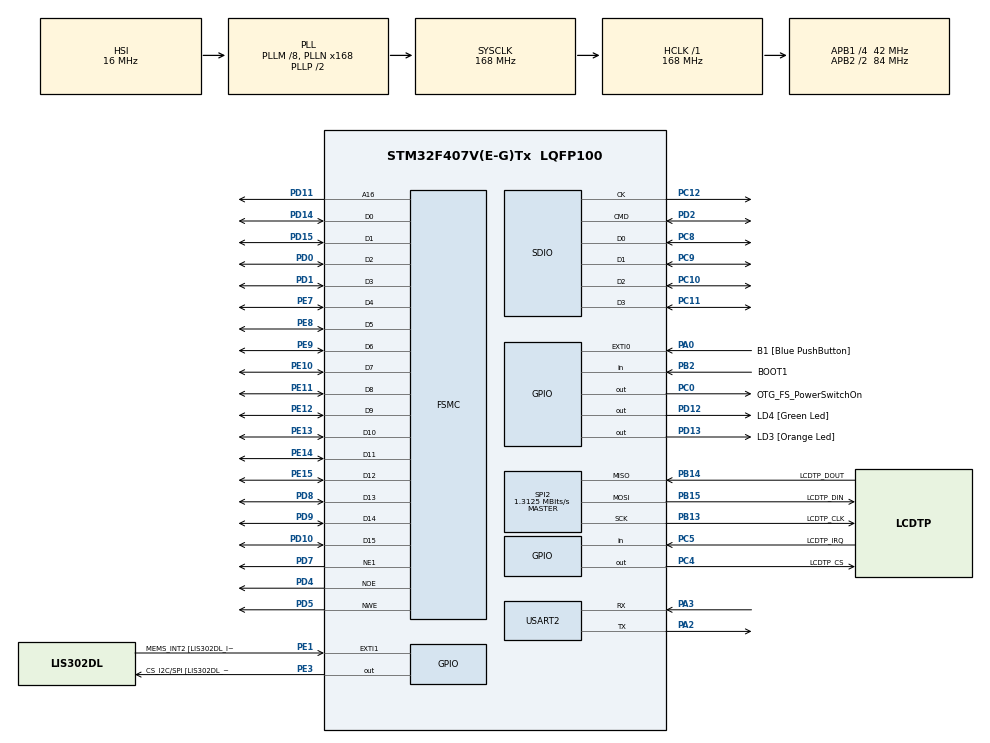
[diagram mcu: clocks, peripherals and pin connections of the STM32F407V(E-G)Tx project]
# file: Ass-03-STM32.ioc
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Dma.Request0=SDIO_RX
Dma.Request1=SDIO_TX
Dma.SDIO_RX.0.Direction=DMA_PERIPH_TO_MEMORY
Dma.SDIO_RX.0.FIFOMode=DMA_FIFOMODE_ENABLE
Dma.SDIO_RX.0.FIFOThreshold=DMA_FIFO_THRESHOLD_FULL
Dma.SDIO_RX.0.Instance=DMA2_Stream3
Dma.SDIO_RX.0.MemBurst=DMA_MBURST_INC4
Dma.SDIO_RX.0.MemDataAlignment=DMA_MDATAALIGN_WORD
Dma.SDIO_RX.0.MemInc=DMA_MINC_ENABLE
Dma.SDIO_RX.0.Mode=DMA_PFCTRL
Dma.SDIO_RX.0.PeriphBurst=DMA_PBURST_INC4
Dma.SDIO_RX.0.PeriphDataAlignment=DMA_PDATAALIGN_WORD
Dma.SDIO_RX.0.PeriphInc=DMA_PINC_DISABLE
Dma.SDIO_RX.0.Priority=DMA_PRIORITY_LOW
Dma.SDIO_TX.1.Direction=DMA_MEMORY_TO_PERIPH
Dma.SDIO_TX.1.FIFOMode=DMA_FIFOMODE_ENABLE
Dma.SDIO_TX.1.FIFOThreshold=DMA_FIFO_THRESHOLD_FULL
Dma.SDIO_TX.1.Instance=DMA2_Stream6
Dma.SDIO_TX.1.MemBurst=DMA_MBURST_INC4
Dma.SDIO_TX.1.MemDataAlignment=DMA_MDATAALIGN_WORD
Dma.SDIO_TX.1.MemInc=DMA_MINC_ENABLE
Dma.SDIO_TX.1.Mode=DMA_PFCTRL
Dma.SDIO_TX.1.PeriphBurst=DMA_PBURST_INC4
Dma.SDIO_TX.1.PeriphDataAlignment=DMA_PDATAALIGN_WORD
Dma.SDIO_TX.1.PeriphInc=DMA_PINC_DISABLE
Dma.SDIO_TX.1.Priority=DMA_PRIORITY_LOW
FATFS._FS_LOCK=5
FREERTOS.BinarySemaphores01=myBinarySem01,Dynamic,NULL;myBinarySem02,Dynamic,NULL
FREERTOS.CountingSemaphores01=myCountingSem01,2,Dynamic,NULL
FREERTOS.Mutexes01=myMutex01,Dynamic,NULL;myMutex02,Dynamic,NULL
FREERTOS.Queues01=myQueue01,16,uint16_t,0,Dynamic,NULL,NULL
FREERTOS.Tasks01=defaultTask,0,2048,StartDefaultTask,Default,NULL,Dynamic,NULL,NULL;myTask02,-3,2048,StartTask02,Default,NULL,Dynamic,NULL,NULL;myTask03,-3,2048,StartTask03,Default,NULL,Dynamic,NULL,NULL
FREERTOS.Timers01=myTimer01,Callback01,osTimerPeriodic,Default,NULL,Dynamic,NULL
FREERTOS.configTOTAL_HEAP_SIZE=32000
FREERTOS.configUSE_COUNTING_SEMAPHORES=1
FREERTOS.configUSE_TIMERS=1
Mcu.Family=STM32F4
Mcu.Name=STM32F407V(E-G)Tx
Mcu.Package=LQFP100
NVIC.DMA2_Stream3_IRQn=true\:5\:0\:false\:false\:true\:true\:false
NVIC.DMA2_Stream6_IRQn=true\:5\:0\:false\:false\:true\:true\:false
NVIC.PriorityGroup=NVIC_PRIORITYGROUP_4
NVIC.SPI2_IRQn=true\:5\:0\:false\:false\:true\:true\:true
NVIC.TIM1_UP_TIM10_IRQn=true\:0\:0\:false\:false\:true\:false\:false
NVIC.TimeBase=TIM1_UP_TIM10_IRQn
NVIC.TimeBaseIP=TIM1
NVIC.USART2_IRQn=true\:5\:0\:false\:false\:true\:true\:true
PA0-WKUP.GPIO_Label=B1 [Blue PushButton]
PA0-WKUP.GPIO_ModeDefaultEXTI=GPIO_MODE_EVT_RISING
PA0-WKUP.GPIO_PuPd=GPIO_NOPULL
PA0-WKUP.Signal=GPXTI0
PA10.GPIO_Label=OTG_FS_ID
PA10.GPIO_Mode=GPIO_MODE_AF_PP
PA10.GPIO_PuPd=GPIO_NOPULL
PA10.GPIO_Speed=GPIO_SPEED_FREQ_LOW
PA10.Signal=USB_OTG_FS_ID
PA11.GPIO_Label=OTG_FS_DM
PA11.GPIO_Mode=GPIO_MODE_AF_PP
PA11.GPIO_PuPd=GPIO_NOPULL
PA11.GPIO_Speed=GPIO_SPEED_FREQ_LOW
PA11.Signal=USB_OTG_FS_DM
PA12.GPIO_Label=OTG_FS_DP
PA12.GPIO_Mode=GPIO_MODE_AF_PP
PA12.GPIO_PuPd=GPIO_NOPULL
PA12.GPIO_Speed=GPIO_SPEED_FREQ_LOW
PA12.Signal=USB_OTG_FS_DP
PA13.GPIO_Label=SWDIO
PA13.Signal=SYS_JTMS-SWDIO
PA14.GPIO_Label=SWCLK
PA14.Signal=SYS_JTCK-SWCLK
PA2.Mode=Asynchronous
PA2.Signal=USART2_TX
PA3.Mode=Asynchronous
PA3.Signal=USART2_RX
PA4.GPIO_Label=I2S3_WS [CS43L22_LRCK]
PA4.GPIO_Mode=GPIO_MODE_AF_PP
PA4.GPIO_PuPd=GPIO_NOPULL
PA4.GPIO_Speed=GPIO_SPEED_FREQ_LOW
PA4.Signal=I2S3_WS
PA5.GPIO_Label=SPI1_SCK [LIS302DL_SCL/SPC]
PA5.GPIO_Mode=GPIO_MODE_AF_PP
PA5.GPIO_PuPd=GPIO_NOPULL
PA5.GPIO_Speed=GPIO_SPEED_FREQ_LOW
PA5.Signal=SPI1_SCK
PA6.GPIO_Label=SPI1_MISO [LIS302DL_SDO]
PA6.GPIO_Mode=GPIO_MODE_AF_PP
PA6.GPIO_PuPd=GPIO_NOPULL
PA6.GPIO_Speed=GPIO_SPEED_FREQ_LOW
PA6.Signal=SPI1_MISO
PA7.GPIO_Label=SPI1_MOSI [LIS302DL_SDA/SDI/SDO]
PA7.GPIO_Mode=GPIO_MODE_AF_PP
PA7.GPIO_PuPd=GPIO_NOPULL
PA7.GPIO_Speed=GPIO_SPEED_FREQ_LOW
PA7.Signal=SPI1_MOSI
PA9.GPIO_Label=VBUS_FS
PA9.GPIO_Mode=GPIO_MODE_INPUT
PA9.GPIO_PuPd=GPIO_NOPULL
PA9.Signal=USB_OTG_FS_VBUS
PB10.GPIO_Label=CLK_IN [MP45DT02_CLK]
PB10.GPIO_Mode=GPIO_MODE_AF_PP
PB10.GPIO_PuPd=GPIO_NOPULL
PB10.GPIO_Speed=GPIO_SPEED_FREQ_LOW
PB10.Signal=I2S2_CK
PB13.GPIO_Label=LCDTP_CLK
PB13.Mode=Full_Duplex_Master
PB13.Signal=SPI2_SCK
PB14.GPIO_Label=LCDTP_DOUT
PB14.Mode=Full_Duplex_Master
PB14.Signal=SPI2_MISO
PB15.GPIO_Label=LCDTP_DIN
PB15.Mode=Full_Duplex_Master
PB15.Signal=SPI2_MOSI
PB2.GPIO_Label=BOOT1
PB2.GPIO_Mode=GPIO_MODE_INPUT
PB2.GPIO_PuPd=GPIO_NOPULL
PB2.Signal=GPIO_Input
PB3.GPIO_Label=SWO
PB3.Signal=SYS_JTDO-SWO
PB6.GPIO_Label=Audio_SCL [CS43L22_SCL]
PB6.GPIO_Mode=GPIO_MODE_AF_OD
PB6.GPIO_PuPd=GPIO_NOPULL
PB6.GPIO_Speed=GPIO_SPEED_FREQ_LOW
PB6.Signal=I2C1_SCL
PB9.GPIO_Label=Audio_SDA [CS43L22_SDA]
PB9.GPIO_Mode=GPIO_MODE_AF_OD
PB9.GPIO_PuPd=GPIO_NOPULL
PB9.GPIO_Speed=GPIO_SPEED_FREQ_LOW
PB9.Signal=I2C1_SDA
PC0.GPIO_Label=OTG_FS_PowerSwitchOn
PC0.GPIO_PuPd=GPIO_NOPULL
PC0.GPIO_Speed=GPIO_SPEED_FREQ_LOW
PC0.PinState=GPIO_PIN_SET
PC0.Signal=GPIO_Output
PC10.Mode=SD_4_bits_Wide_bus
PC10.Signal=SDIO_D2
PC11.Mode=SD_4_bits_Wide_bus
PC11.Signal=SDIO_D3
PC12.Mode=SD_4_bits_Wide_bus
PC12.Signal=SDIO_CK
PC14-OSC32_IN.GPIO_Label=PC14-OSC32_IN
PC14-OSC32_IN.Signal=RCC_OSC32_IN
PC15-OSC32_OUT.GPIO_Label=PC15-OSC32_OUT
PC15-OSC32_OUT.Signal=RCC_OSC32_OUT
PC3.GPIO_Label=PDM_OUT [MP45DT02_DOUT]
PC3.GPIO_Mode=GPIO_MODE_AF_PP
PC3.GPIO_PuPd=GPIO_NOPULL
PC3.GPIO_Speed=GPIO_SPEED_FREQ_LOW
PC3.Signal=I2S2_SD
PC4.GPIO_Label=LCDTP_CS
PC4.Signal=GPIO_Output
PC5.GPIO_Label=LCDTP_IRQ
PC5.Signal=GPIO_Input
PC7.GPIO_Label=I2S3_MCK [CS43L22_MCLK]
PC7.GPIO_Mode=GPIO_MODE_AF_PP
PC7.GPIO_PuPd=GPIO_NOPULL
PC7.GPIO_Speed=GPIO_SPEED_FREQ_LOW
PC7.Signal=I2S3_MCK
PC8.Mode=SD_4_bits_Wide_bus
PC8.Signal=SDIO_D0
PC9.Mode=SD_4_bits_Wide_bus
PC9.Signal=SDIO_D1
PD0.Mode=16b-d1
PD0.Signal=FSMC_D2
PD1.Mode=16b-d1
PD1.Signal=FSMC_D3
PD10.Mode=16b-d1
PD10.Signal=FSMC_D15
PD11.Mode=A16_1
PD11.Signal=FSMC_A16
PD12.GPIO_Label=LD4 [Green Led]
PD12.GPIO_PuPd=GPIO_NOPULL
PD12.GPIO_Speed=GPIO_SPEED_FREQ_LOW
PD12.Signal=GPIO_Output
PD13.GPIO_Label=LD3 [Orange Led]
PD13.GPIO_PuPd=GPIO_NOPULL
PD13.GPIO_Speed=GPIO_SPEED_FREQ_LOW
PD13.Signal=GPIO_Output
PD14.Mode=16b-d1
PD14.Signal=FSMC_D0
PD15.Mode=16b-d1
PD15.Signal=FSMC_D1
PD2.Mode=SD_4_bits_Wide_bus
PD2.Signal=SDIO_CMD
PD4.Mode=Lcd1
PD4.Signal=FSMC_NOE
PD5.Mode=Lcd1
PD5.Signal=FSMC_NWE
PD7.Mode=NorPsramChipSelect1_1
PD7.Signal=FSMC_NE1
PD8.Mode=16b-d1
PD8.Signal=FSMC_D13
PD9.Mode=16b-d1
PD9.Signal=FSMC_D14
PE1.GPIO_Label=MEMS_INT2 [LIS302DL_INT2]
PE1.GPIO_ModeDefaultEXTI=GPIO_MODE_EVT_RISING
PE1.GPIO_PuPd=GPIO_NOPULL
PE1.Signal=GPXTI1
PE10.Mode=16b-d1
PE10.Signal=FSMC_D7
PE11.Mode=16b-d1
PE11.Signal=FSMC_D8
PE12.Mode=16b-d1
PE12.Signal=FSMC_D9
PE13.Mode=16b-d1
PE13.Signal=FSMC_D10
PE14.Mode=16b-d1
PE14.Signal=FSMC_D11
PE15.Mode=16b-d1
PE15.Signal=FSMC_D12
PE3.GPIO_Label=CS_I2C/SPI [LIS302DL_CS_I2C/SPI]
PE3.GPIO_PuPd=GPIO_NOPULL
PE3.GPIO_Speed=GPIO_SPEED_FREQ_LOW
PE3.Signal=GPIO_Output
PE7.Mode=16b-d1
PE7.Signal=FSMC_D4
PE8.Mode=16b-d1
PE8.Signal=FSMC_D5
PE9.Mode=16b-d1
PE9.Signal=FSMC_D6
PH0-OSC_IN.GPIO_Label=PH0-OSC_IN
PH0-OSC_IN.Mode=HSE-External-Oscillator
PH0-OSC_IN.Signal=RCC_OSC_IN
PH1-OSC_OUT.GPIO_Label=PH1-OSC_OUT
PH1-OSC_OUT.Mode=HSE-External-Oscillator
PH1-OSC_OUT.Signal=RCC_OSC_OUT
ProjectManager.HeapSize=0x10000
ProjectManager.StackSize=0x2000
ProjectManager.TargetToolchain=SW4STM32
RCC.48MHZClocksFreq_Value=48000000
RCC.AHBFreq_Value=168000000
RCC.APB1CLKDivider=RCC_HCLK_DIV4
RCC.APB1Freq_Value=42000000
RCC.APB1TimFreq_Value=84000000
RCC.APB2CLKDivider=RCC_HCLK_DIV2
RCC.APB2Freq_Value=84000000
RCC.APB2TimFreq_Value=168000000
RCC.CortexFreq_Value=168000000
RCC.HCLKFreq_Value=168000000
RCC.HSE_VALUE=8000000
RCC.HSI_VALUE=16000000
RCC.LSE_VALUE=32768
RCC.PLLM=8
RCC.PLLN=168
RCC.PLLQ=7
RCC.SYSCLKFreq_VALUE=168000000
RCC.SYSCLKSource=RCC_SYSCLKSOURCE_PLLCLK
RCC.VCOOutputFreq_Value=336000000
SPI2.BaudRatePrescaler=SPI_BAUDRATEPRESCALER_32
SPI2.CalculateBaudRate=1.3125 MBits/s
SPI2.Direction=SPI_DIRECTION_2LINES
SPI2.Mode=SPI_MODE_MASTER
SPI2.VirtualType=VM_MASTER
USART2.VirtualMode=VM_ASYNC
VP_FATFS_VS_SDIO.Mode=SDIO
VP_FREERTOS_VS_ENABLE.Mode=Enabled
VP_SYS_VS_tim1.Mode=TIM1
board=STM32F4DISCOVERY

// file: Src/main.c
/**
  ******************************************************************************
  * @file           : main.c
  * @brief          : Main program body
  ******************************************************************************
  * This notice applies to any and all portions of this file
  * that are not between comment pairs USER CODE BEGIN and
  * USER CODE END. Other portions of this file, whether
  * inserted by the user or by software development tools
  * are owned by their respective copyright owners.
  *
  * Copyright (c) 2018 STMicroelectronics International N.V.
  * All rights reserved.
  *
  * Redistribution and use in source and binary forms, with or without
  * modification, are permitted, provided that the following conditions are met:
  *
  * 1. Redistribution of source code must retain the above copyright notice,
  *    this list of conditions and the following disclaimer.
  * 2. Redistributions in binary form must reproduce the above copyright notice,
  *    this list of conditions and the following disclaimer in the documentation
  *    and/or other materials provided with the distribution.
  * 3. Neither the name of STMicroelectronics nor the names of other
  *    contributors to this software may be used to endorse or promote products
  *    derived from this software without specific written permission.
  * 4. This software, including modifications and/or derivative works of this
  *    software, must execute solely and exclusively on microcontroller or
  *    microprocessor devices manufactured by or for STMicroelectronics.
  * 5. Redistribution and use of this software other than as permitted under
  *    this license is void and will automatically terminate your rights under
  *    this license.
  *
  * THIS SOFTWARE IS PROVIDED BY STMICROELECTRONICS AND CONTRIBUTORS "AS IS"
  * AND ANY EXPRESS, IMPLIED OR STATUTORY WARRANTIES, INCLUDING, BUT NOT
  * LIMITED TO, THE IMPLIED WARRANTIES OF MERCHANTABILITY, FITNESS FOR A
  * PARTICULAR PURPOSE AND NON-INFRINGEMENT OF THIRD PARTY INTELLECTUAL PROPERTY
  * RIGHTS ARE DISCLAIMED TO THE FULLEST EXTENT PERMITTED BY LAW. IN NO EVENT
  * SHALL STMICROELECTRONICS OR CONTRIBUTORS BE LIABLE FOR ANY DIRECT, INDIRECT,
  * INCIDENTAL, SPECIAL, EXEMPLARY, OR CONSEQUENTIAL DAMAGES (INCLUDING, BUT NOT
  * LIMITED TO, PROCUREMENT OF SUBSTITUTE GOODS OR SERVICES; LOSS OF USE, DATA,
  * OR PROFITS; OR BUSINESS INTERRUPTION) HOWEVER CAUSED AND ON ANY THEORY OF
  * LIABILITY, WHETHER IN CONTRACT, STRICT LIABILITY, OR TORT (INCLUDING
  * NEGLIGENCE OR OTHERWISE) ARISING IN ANY WAY OUT OF THE USE OF THIS SOFTWARE,
  * EVEN IF ADVISED OF THE POSSIBILITY OF SUCH DAMAGE.
  *
  ******************************************************************************
  */
#include "main.h"
#include "stm32f4xx_hal.h"
#include "cmsis_os.h"
#include "dma.h"
#include "fatfs.h"
#include "sdio.h"
#include "spi.h"
#include "usart.h"
#include "gpio.h"
#include "fsmc.h"

/* USER CODE BEGIN PV */
/* Private variables ---------------------------------------------------------*/

/* USER CODE END PV */

void SystemClock_Config(void);
void MX_FREERTOS_Init(void);

/* USER CODE BEGIN PFP */
/* Private function prototypes -----------------------------------------------*/

/* USER CODE END PFP */

int main(void)
{

  /* MCU Configuration----------------------------------------------------------*/

  /* Reset of all peripherals, Initializes the Flash interface and the Systick. */
  HAL_Init();

  /* Configure the system clock */
  SystemClock_Config();

  /* Initialize all configured peripherals */
  MX_GPIO_Init();
  MX_DMA_Init();
  MX_FSMC_Init();
  MX_SDIO_SD_Init();
  MX_USART2_UART_Init();
  MX_SPI2_Init();
  /* USER CODE BEGIN 2 */

  // STEPIEN: Initialize and turn on LCD and calibrate the touch panel
  BSP_LCD_Init();
  BSP_LCD_DisplayOn();
  BSP_TP_Init();

  /* USER CODE END 2 */

  /* Call init function for freertos objects (in freertos.c) */
  MX_FREERTOS_Init();

  /* Start scheduler */
  osKernelStart();

  /* We should never get here as control is now taken by the scheduler */

  /* Infinite loop */
  while (1)
  {

  }

}

void SystemClock_Config(void)
{

  RCC_OscInitTypeDef RCC_OscInitStruct;
  RCC_ClkInitTypeDef RCC_ClkInitStruct;

    /**Configure the main internal regulator output voltage
    */
  __HAL_RCC_PWR_CLK_ENABLE();

  __HAL_PWR_VOLTAGESCALING_CONFIG(PWR_REGULATOR_VOLTAGE_SCALE1);

    /**Initializes the CPU, AHB and APB busses clocks
    */
  RCC_OscInitStruct.OscillatorType = RCC_OSCILLATORTYPE_HSI;
  RCC_OscInitStruct.HSIState = RCC_HSI_ON;
  RCC_OscInitStruct.HSICalibrationValue = 16;
  RCC_OscInitStruct.PLL.PLLState = RCC_PLL_ON;
  RCC_OscInitStruct.PLL.PLLSource = RCC_PLLSOURCE_HSI;
  RCC_OscInitStruct.PLL.PLLM = 8;
  RCC_OscInitStruct.PLL.PLLN = 168;
  RCC_OscInitStruct.PLL.PLLP = RCC_PLLP_DIV2;
  RCC_OscInitStruct.PLL.PLLQ = 7;
  if (HAL_RCC_OscConfig(&RCC_OscInitStruct) != HAL_OK)
  {
    _Error_Handler(__FILE__, __LINE__);
  }

    /**Initializes the CPU, AHB and APB busses clocks
    */
  RCC_ClkInitStruct.ClockType = RCC_CLOCKTYPE_HCLK|RCC_CLOCKTYPE_SYSCLK
                              |RCC_CLOCKTYPE_PCLK1|RCC_CLOCKTYPE_PCLK2;
  RCC_ClkInitStruct.SYSCLKSource = RCC_SYSCLKSOURCE_PLLCLK;
  RCC_ClkInitStruct.AHBCLKDivider = RCC_SYSCLK_DIV1;
  RCC_ClkInitStruct.APB1CLKDivider = RCC_HCLK_DIV4;
  RCC_ClkInitStruct.APB2CLKDivider = RCC_HCLK_DIV2;

  if (HAL_RCC_ClockConfig(&RCC_ClkInitStruct, FLASH_LATENCY_5) != HAL_OK)
  {
    _Error_Handler(__FILE__, __LINE__);
  }

    /**Configure the Systick interrupt time
    */
  HAL_SYSTICK_Config(HAL_RCC_GetHCLKFreq()/1000);

    /**Configure the Systick
    */
  HAL_SYSTICK_CLKSourceConfig(SYSTICK_CLKSOURCE_HCLK);

  /* SysTick_IRQn interrupt configuration */
  HAL_NVIC_SetPriority(SysTick_IRQn, 15, 0);
}

void HAL_TIM_PeriodElapsedCallback(TIM_HandleTypeDef *htim)
{
  if (htim->Instance == TIM1) {
    HAL_IncTick();
  }
}

void _Error_Handler(char *file, int line)
{
  while(1)
  {
  }
}

/************************ (C) COPYRIGHT STMicroelectronics *****END OF FILE****/

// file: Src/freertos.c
/**
  ******************************************************************************
  * File Name          : freertos.c
  * Description        : Code for freertos applications
  ******************************************************************************
  * This notice applies to any and all portions of this file
  * that are not between comment pairs USER CODE BEGIN and
  * USER CODE END. Other portions of this file, whether
  * inserted by the user or by software development tools
  * are owned by their respective copyright owners.
  *
  * Copyright (c) 2018 STMicroelectronics International N.V.
  * All rights reserved.
  *
  * Redistribution and use in source and binary forms, with or without
  * modification, are permitted, provided that the following conditions are met:
  *
  * 1. Redistribution of source code must retain the above copyright notice,
  *    this list of conditions and the following disclaimer.
  * 2. Redistributions in binary form must reproduce the above copyright notice,
  *    this list of conditions and the following disclaimer in the documentation
  *    and/or other materials provided with the distribution.
  * 3. Neither the name of STMicroelectronics nor the names of other
  *    contributors to this software may be used to endorse or promote products
  *    derived from this software without specific written permission.
  * 4. This software, including modifications and/or derivative works of this
  *    software, must execute solely and exclusively on microcontroller or
  *    microprocessor devices manufactured by or for STMicroelectronics.
  * 5. Redistribution and use of this software other than as permitted under
  *    this license is void and will automatically terminate your rights under
  *    this license.
  *
  * THIS SOFTWARE IS PROVIDED BY STMICROELECTRONICS AND CONTRIBUTORS "AS IS"
  * AND ANY EXPRESS, IMPLIED OR STATUTORY WARRANTIES, INCLUDING, BUT NOT
  * LIMITED TO, THE IMPLIED WARRANTIES OF MERCHANTABILITY, FITNESS FOR A
  * PARTICULAR PURPOSE AND NON-INFRINGEMENT OF THIRD PARTY INTELLECTUAL PROPERTY
  * RIGHTS ARE DISCLAIMED TO THE FULLEST EXTENT PERMITTED BY LAW. IN NO EVENT
  * SHALL STMICROELECTRONICS OR CONTRIBUTORS BE LIABLE FOR ANY DIRECT, INDIRECT,
  * INCIDENTAL, SPECIAL, EXEMPLARY, OR CONSEQUENTIAL DAMAGES (INCLUDING, BUT NOT
  * LIMITED TO, PROCUREMENT OF SUBSTITUTE GOODS OR SERVICES; LOSS OF USE, DATA,
  * OR PROFITS; OR BUSINESS INTERRUPTION) HOWEVER CAUSED AND ON ANY THEORY OF
  * LIABILITY, WHETHER IN CONTRACT, STRICT LIABILITY, OR TORT (INCLUDING
  * NEGLIGENCE OR OTHERWISE) ARISING IN ANY WAY OUT OF THE USE OF THIS SOFTWARE,
  * EVEN IF ADVISED OF THE POSSIBILITY OF SUCH DAMAGE.
  *
  ******************************************************************************
  */

#include "FreeRTOS.h"
#include "task.h"
#include "cmsis_os.h"

/* USER CODE BEGIN Includes */

// STEPIEN
#include "Ass-03.h"

/* USER CODE END Includes */

osThreadId defaultTaskHandle;
osThreadId myTask02Handle;
osThreadId myTask03Handle;
osMessageQId myQueue01Handle;
osTimerId myTimer01Handle;
osMutexId myMutex01Handle;
osMutexId myMutex02Handle;

osMutexId inputbuf_Handle;   // Protect Input buffer
osMutexId windowbuf_Handle;  // Protect Window buffer

osSemaphoreId myBinarySem01Handle;
osSemaphoreId myBinarySem02Handle;
osSemaphoreId myCountingSem01Handle;

void StartDefaultTask(void const * argument);
void StartTask02(void const * argument);
void StartTask03(void const * argument);
void Callback01(void const * argument);

extern void MX_FATFS_Init(void);
void MX_FREERTOS_Init(void); /* (MISRA C 2004 rule 8.1) */

/* Hook prototypes */

/* Init FreeRTOS */

void MX_FREERTOS_Init(void) {

  /* Create the mutex(es) */
  /* definition and creation of myMutex01 */
  osMutexDef(myMutex01);
  myMutex01Handle = osMutexCreate(osMutex(myMutex01));

  /* definition and creation of myMutex02 */
  osMutexDef(myMutex02);
  myMutex02Handle = osMutexCreate(osMutex(myMutex02));

  /* USER CODE BEGIN RTOS_MUTEX */
  /* add mutexes, ... */
  /* definition and creation of myMutex02 */
  osMutexDef(myMutexIB);
  inputbuf_Handle = osMutexCreate(osMutex(myMutexIB));

  /* definition and creation of myMutex02 */
  osMutexDef(myMutexWB);
  windowbuf_Handle = osMutexCreate(osMutex(myMutexWB));
  /* USER CODE END RTOS_MUTEX */

  /* Create the semaphores(s) */
  /* definition and creation of myBinarySem01 */
  osSemaphoreDef(myBinarySem01);
  myBinarySem01Handle = osSemaphoreCreate(osSemaphore(myBinarySem01), 1);

  /* definition and creation of myBinarySem02 */
  osSemaphoreDef(myBinarySem02);
  myBinarySem02Handle = osSemaphoreCreate(osSemaphore(myBinarySem02), 1);

  /* definition and creation of myCountingSem01 */
  osSemaphoreDef(myCountingSem01);
  myCountingSem01Handle = osSemaphoreCreate(osSemaphore(myCountingSem01), 2);

  /* USER CODE BEGIN RTOS_SEMAPHORES */
  /* add semaphores, ... */
  osSemaphoreWait(myBinarySem01Handle, osWaitForever); // STEPIEN: Start with nothing
  /* USER CODE END RTOS_SEMAPHORES */

  /* Create the timer(s) */
  /* definition and creation of myTimer01 */
  osTimerDef(myTimer01, Callback01);
  myTimer01Handle = osTimerCreate(osTimer(myTimer01), osTimerPeriodic, NULL);

  /* USER CODE BEGIN RTOS_TIMERS */
  /* start timers, add new ones, ... */
  // STEPIEN Start timer for touch panel
  osTimerStart(myTimer01Handle, 10);
  /* USER CODE END RTOS_TIMERS */

  /* Create the thread(s) */
  /* definition and creation of defaultTask */
  osThreadDef(defaultTask, StartDefaultTask, osPriorityNormal, 0, 2048);
  defaultTaskHandle = osThreadCreate(osThread(defaultTask), NULL);

  /* definition and creation of myTask02 */
  osThreadDef(myTask02, StartTask02, osPriorityIdle, 0, 2048);
  myTask02Handle = osThreadCreate(osThread(myTask02), NULL);

  /* definition and creation of myTask03 */
  osThreadDef(myTask03, StartTask03, osPriorityIdle, 0, 2048);
  myTask03Handle = osThreadCreate(osThread(myTask03), NULL);

  /* Create the queue(s) */
  /* definition and creation of myQueue01 */
  osMessageQDef(myQueue01, 16, uint16_t);
  myQueue01Handle = osMessageCreate(osMessageQ(myQueue01), NULL);

}

/* StartDefaultTask function */
void StartDefaultTask(void const * argument)
{
  /* init code for FATFS */
  MX_FATFS_Init();

  /* USER CODE BEGIN StartDefaultTask */
  // STEPIEN
  safe_printf("Starting Thread 1\n");
  Ass_03_Task_01(argument);
  /* USER CODE END StartDefaultTask */
}

/* StartTask02 function */
void StartTask02(void const * argument)
{
  /* USER CODE BEGIN StartTask02 */
  // STEPIEN
  osDelay(100);
  safe_printf("Starting Thread 2\n");
  Ass_03_Task_02(argument);
  /* USER CODE END StartTask02 */
}

/* StartTask03 function */
void StartTask03(void const * argument)
{
  /* USER CODE BEGIN StartTask03 */
  // STEPIEN
  osDelay(200);
  safe_printf("Starting Thread 3\n");
  Ass_03_Task_03(argument);
  /* USER CODE END StartTask03 */
}

/* Callback01 function */
void Callback01(void const * argument)
{
  /* USER CODE BEGIN Callback01 */

  // STEPIEN: Period timer to signal reading the touch panel display
  osSignalSet(defaultTaskHandle, 1);

  /* USER CODE END Callback01 */
}

/************************ (C) COPYRIGHT STMicroelectronics *****END OF FILE****/
